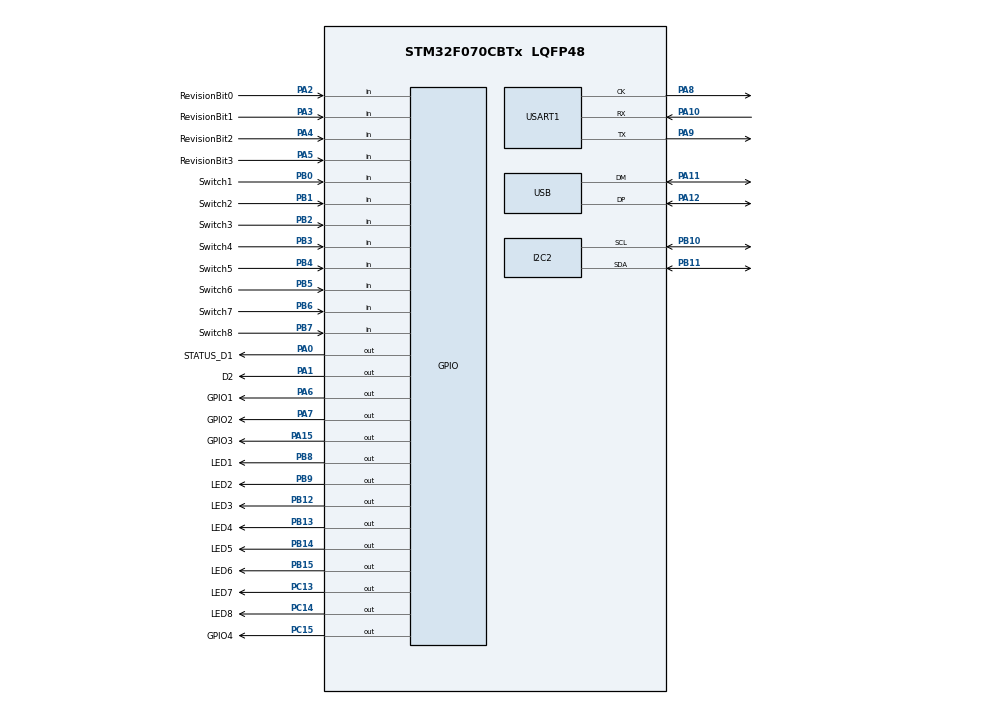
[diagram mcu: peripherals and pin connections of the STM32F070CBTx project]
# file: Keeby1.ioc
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I2C2.Timing=0x20303E5D
Mcu.Family=STM32F0
Mcu.Name=STM32F070CBTx
Mcu.Package=LQFP48
NVIC.USB_IRQn=true\:0\:0\:false\:false\:true\:false
PA0.GPIO_Label=STATUS_D1
PA0.GPIO_PuPd=GPIO_PULLDOWN
PA0.PinState=GPIO_PIN_SET
PA0.Signal=GPIO_Output
PA1.GPIO_Label=D2
PA1.GPIO_PuPd=GPIO_PULLDOWN
PA1.PinState=GPIO_PIN_SET
PA1.Signal=GPIO_Output
PA10.Mode=Synchronous
PA10.Signal=USART1_RX
PA11.Mode=Device
PA11.Signal=USB_DM
PA12.Mode=Device
PA12.Signal=USB_DP
PA13.Mode=Serial_Wire
PA13.Signal=SYS_SWDIO
PA14.Mode=Serial_Wire
PA14.Signal=SYS_SWCLK
PA15.GPIO_Label=GPIO3
PA15.Signal=GPIO_Output
PA2.GPIO_Label=RevisionBit0
PA2.Signal=GPIO_Input
PA3.GPIO_Label=RevisionBit1
PA3.Signal=GPIO_Input
PA4.GPIO_Label=RevisionBit2
PA4.Signal=GPIO_Input
PA5.GPIO_Label=RevisionBit3
PA5.Signal=GPIO_Input
PA6.GPIO_Label=GPIO1
PA6.Signal=GPIO_Output
PA7.GPIO_Label=GPIO2
PA7.Signal=GPIO_Output
PA8.Mode=Synchronous
PA8.Signal=USART1_CK
PA9.Mode=Synchronous
PA9.Signal=USART1_TX
PB0.GPIO_Label=Switch1
PB0.GPIO_PuPd=GPIO_PULLUP
PB0.Signal=GPIO_Input
PB1.GPIO_Label=Switch2
PB1.GPIO_PuPd=GPIO_PULLUP
PB1.Signal=GPIO_Input
PB10.Mode=I2C
PB10.Signal=I2C2_SCL
PB11.Mode=I2C
PB11.Signal=I2C2_SDA
PB12.GPIO_Label=LED3
PB12.PinState=GPIO_PIN_SET
PB12.Signal=GPIO_Output
PB13.GPIO_Label=LED4
PB13.PinState=GPIO_PIN_SET
PB13.Signal=GPIO_Output
PB14.GPIO_Label=LED5
PB14.PinState=GPIO_PIN_SET
PB14.Signal=GPIO_Output
PB15.GPIO_Label=LED6
PB15.PinState=GPIO_PIN_SET
PB15.Signal=GPIO_Output
PB2.GPIO_Label=Switch3
PB2.GPIO_PuPd=GPIO_PULLUP
PB2.Signal=GPIO_Input
PB3.GPIO_Label=Switch4
PB3.GPIO_PuPd=GPIO_PULLUP
PB3.Signal=GPIO_Input
PB4.GPIO_Label=Switch5
PB4.GPIO_PuPd=GPIO_PULLUP
PB4.Signal=GPIO_Input
PB5.GPIO_Label=Switch6
PB5.GPIO_PuPd=GPIO_PULLUP
PB5.Signal=GPIO_Input
PB6.GPIO_Label=Switch7
PB6.GPIO_PuPd=GPIO_PULLUP
PB6.Signal=GPIO_Input
PB7.GPIO_Label=Switch8
PB7.GPIO_PuPd=GPIO_PULLUP
PB7.Signal=GPIO_Input
PB8.GPIO_Label=LED1
PB8.PinState=GPIO_PIN_SET
PB8.Signal=GPIO_Output
PB9.GPIO_Label=LED2
PB9.PinState=GPIO_PIN_SET
PB9.Signal=GPIO_Output
PC13.GPIO_Label=LED7
PC13.Signal=GPIO_Output
PC14-OSC32_IN.GPIO_Label=LED8
PC14-OSC32_IN.Signal=GPIO_Output
PC15-OSC32_OUT.GPIO_Label=GPIO4
PC15-OSC32_OUT.Signal=GPIO_Output
PF0-OSC_IN.Mode=HSE-External-Oscillator
PF0-OSC_IN.Signal=RCC_OSC_IN
PF1-OSC_OUT.Mode=HSE-External-Oscillator
PF1-OSC_OUT.Signal=RCC_OSC_OUT
ProjectManager.HeapSize=0x200
ProjectManager.StackSize=0x400
ProjectManager.TargetToolchain=SW4STM32
RCC.AHBFreq_Value=48000000
RCC.APB1Freq_Value=48000000
RCC.APB1TimFreq_Value=48000000
RCC.HCLKFreq_Value=48000000
RCC.PLLMUL=RCC_PLL_MUL6
RCC.SYSCLKFreq_VALUE=48000000
RCC.SYSCLKSource=RCC_SYSCLKSOURCE_PLLCLK
USART1.VirtualMode-Synchronous=VM_SYNC
USB_DEVICE.CLASS_NAME_FS=HID
USB_DEVICE.VirtualMode=Hid
USB_DEVICE.VirtualModeFS=Hid_FS
VP_USB_DEVICE_VS_USB_DEVICE_HID_FS.Mode=HID_FS
board=custom

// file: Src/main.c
/* USER CODE BEGIN Header */
/**
 ******************************************************************************
 * @file           : main.c
 * @brief          : Main program body
 ******************************************************************************
 * This notice applies to any and all portions of this file
 * that are not between comment pairs USER CODE BEGIN and
 * USER CODE END. Other portions of this file, whether
 * inserted by the user or by software development tools
 * are owned by their respective copyright owners.
 *
 * Copyright (c) 2019 STMicroelectronics International N.V.
 * All rights reserved.
 *
 * Redistribution and use in source and binary forms, with or without
 * modification, are permitted, provided that the following conditions are met:
 *
 * 1. Redistribution of source code must retain the above copyright notice,
 *    this list of conditions and the following disclaimer.
 * 2. Redistributions in binary form must reproduce the above copyright notice,
 *    this list of conditions and the following disclaimer in the documentation
 *    and/or other materials provided with the distribution.
 * 3. Neither the name of STMicroelectronics nor the names of other
 *    contributors to this software may be used to endorse or promote products
 *    derived from this software without specific written permission.
 * 4. This software, including modifications and/or derivative works of this
 *    software, must execute solely and exclusively on microcontroller or
 *    microprocessor devices manufactured by or for STMicroelectronics.
 * 5. Redistribution and use of this software other than as permitted under
 *    this license is void and will automatically terminate your rights under
 *    this license.
 *
 * THIS SOFTWARE IS PROVIDED BY STMICROELECTRONICS AND CONTRIBUTORS "AS IS"
 * AND ANY EXPRESS, IMPLIED OR STATUTORY WARRANTIES, INCLUDING, BUT NOT
 * LIMITED TO, THE IMPLIED WARRANTIES OF MERCHANTABILITY, FITNESS FOR A
 * PARTICULAR PURPOSE AND NON-INFRINGEMENT OF THIRD PARTY INTELLECTUAL PROPERTY
 * RIGHTS ARE DISCLAIMED TO THE FULLEST EXTENT PERMITTED BY LAW. IN NO EVENT
 * SHALL STMICROELECTRONICS OR CONTRIBUTORS BE LIABLE FOR ANY DIRECT, INDIRECT,
 * INCIDENTAL, SPECIAL, EXEMPLARY, OR CONSEQUENTIAL DAMAGES (INCLUDING, BUT NOT
 * LIMITED TO, PROCUREMENT OF SUBSTITUTE GOODS OR SERVICES; LOSS OF USE, DATA,
 * OR PROFITS; OR BUSINESS INTERRUPTION) HOWEVER CAUSED AND ON ANY THEORY OF
 * LIABILITY, WHETHER IN CONTRACT, STRICT LIABILITY, OR TORT (INCLUDING
 * NEGLIGENCE OR OTHERWISE) ARISING IN ANY WAY OUT OF THE USE OF THIS SOFTWARE,
 * EVEN IF ADVISED OF THE POSSIBILITY OF SUCH DAMAGE.
 *
 ******************************************************************************
 */
/* USER CODE END Header */

#include "main.h"
#include "usb_device.h"
#include "usbd_hid.h"

I2C_HandleTypeDef hi2c2;

USART_HandleTypeDef husart1;
//USBD_HandleTypeDef hUsbDeviceFS;

/* USER CODE BEGIN PV */
// Keyboard Layout
// ____ ____ ____ ____   ____ ____ ____ ____
//|    |    |    |    | |    |    |    |    |
//|  1 |  2 | 3  |  4 | |  5 |  6 |  7 | 8  |
// ---- ---- ---- ----   ---- ---- ---- ----

//-- Delete following section
#define keyBind1 0x1E
#define keyBind2 0x1F
#define keyBind3 0x20
#define keyBind4 0x21

#define keyBind5 34
#define keyBind6 35
#define keyBind7 36
#define keyBind8 37

//int keyBindArry[8]={0x1E, 0x1F, 0x20, 0x21, 34, 35, 36, 37};
//--end

#define HID_DELAY 10

/* USER CODE END PV */

void SystemClock_Config(void);
static void MX_GPIO_Init(void);
static void MX_USART1_Init(void);
static void MX_I2C2_Init(void);
//int * Button_Read();
//int sumButton_Read();

int main(void) {
	/* USER CODE BEGIN 1 */

	//Alt keycodes here
	//
	//The arrays USB HID Keycodes for numpad keys
	//Alt codes send 4 in a row for any special character
	//MinAUm is meant to encode an 'a' with umlaut
	//the alt code that encodes that is {0,2,2,8} with numpad characters
	//the HID table lists keypad codes on page 55
	//https://www.usb.org/sites/default/files/documents/hut1_12v2.pdf
	//keypad 0: 98, keypad 2: 90, keypad 8, 96
	static int MinAUm[4] = { 98, 90, 90, 96 }; //
	static int MinOUm[4] = { 98, 90, 92, 94 };
	static int MinUUm[4] = { 98, 90, 93, 90 };
	static int SharfS[4] = { 98, 90, 90, 91 };

	static int MajAUm[4] = { 98, 89, 97, 94 };
	static int MajOUm[4] = { 98, 90, 89, 92 };
	static int MajUUm[4] = { 98, 90, 90, 98 };
	static int EuroSg[4] = { 98, 89, 90, 96 };

	//WTF is this magic number array
	//This seems to be a faild attempt to write the characters as tho they were
	//normal keys

	/* USER CODE END 1 */

	/* MCU Configuration--------------------------------------------------------*/

	/* Reset of all peripherals, Initializes the Flash interface and the Systick. */
	HAL_Init();

	/* USER CODE BEGIN Init */
	//HID Mouse

	/* USER CODE END Init */

	/* Configure the system clock */
	SystemClock_Config();

	/* Initialize all configured peripherals */
	MX_GPIO_Init();
	MX_USART1_Init();
	MX_I2C2_Init();
	MX_USB_DEVICE_Init();
	/* USER CODE BEGIN 2 */
	//HAL_GPIO_WritePin(GPIOA, STATUS_D1_Pin, GPIO_PIN_RESET);
	extern USBD_HandleTypeDef hUsbDeviceFS;

	volatile int keyBufferCur[8] = { 0, 0, 0, 0, 0, 0, 0, 0 }; //Creating a buffer and previous iter buffer for press and release
			 int keyBufferPrev[8] = { 0, 0, 0, 0, 0, 0, 0, 0 }; //size is due to number of keys

	void AltCodeSend(int KP[4]) {
		uint8_t hidWriteBuffer[8] = { 1, 4, 0, 0, 0, 0, 0, 0 }; // This is the key write buffer
		uint8_t hidRelBuffer[8] = { 1, 0, 0, 0, 0, 0, 0, 0 };// This is the key release buffer
		uint8_t hidAltBuffer[8] = { 1, 4, 0, 0, 0, 0, 0, 0 };// This is a buffer to send just alt

		// To send an alt code, four keypad hid codes with alt modifier are
		// sent, interleaved with 4 HID writes with just the alt modifier
		for (int j = 0; j < 4; j++) {
			// Fill, and Send the key press buffer, then wait
			hidWriteBuffer[3] = KP[j];
			USBD_HID_SendReport(&hUsbDeviceFS, hidWriteBuffer, 8);
			HAL_Delay(HID_DELAY);

			USBD_HID_SendReport(&hUsbDeviceFS, hidAltBuffer, 8);
			HAL_Delay(HID_DELAY);
		}
		USBD_HID_SendReport(&hUsbDeviceFS, hidRelBuffer, 8);
		// Send Release
	}

	HAL_GPIO_WritePin(GPIOA, STATUS_D1_Pin, GPIO_PIN_RESET);
	HAL_GPIO_WritePin(GPIOA, D2_Pin, GPIO_PIN_RESET);
	/* USER CODE END 2 */

	/* Infinite loop */
	while (1) {
//	  HAL_GPIO_WritePin(GPIOA, D2_Pin, GPIO_PIN_SET);
//	  HAL_GPIO_TogglePin(GPIOA, STATUS_D1_Pin);
		int Key_Val2[8] = { (HAL_GPIO_ReadPin(Switch1_GPIO_Port, Switch1_Pin)),
				(HAL_GPIO_ReadPin(Switch2_GPIO_Port, Switch2_Pin)),
				(HAL_GPIO_ReadPin(Switch3_GPIO_Port, Switch3_Pin)),
				(HAL_GPIO_ReadPin(Switch4_GPIO_Port, Switch4_Pin)),
				(HAL_GPIO_ReadPin(Switch5_GPIO_Port, Switch5_Pin)),
				(HAL_GPIO_ReadPin(Switch6_GPIO_Port, Switch6_Pin)),
				(HAL_GPIO_ReadPin(Switch7_GPIO_Port, Switch7_Pin)),
				(HAL_GPIO_ReadPin(Switch8_GPIO_Port, Switch8_Pin)) };

		static int PrevPresSum = 0;
		static int CurrPresSum = 0;
		for (int j = 0; j < 8; j++) {
			CurrPresSum += keyBufferCur[j] = (1 ^ Key_Val2[j]); //HAL reads active low, like a maniac. This is my method for flipping the bit from HAL, packing a buffer and summing it. Yuck.
			PrevPresSum += (keyBufferCur[j] != keyBufferPrev[j]); //This checks for a press to release transition between loops
		}

		//Event Press or release, or more accurately, a state change
		if (CurrPresSum != 0 || PrevPresSum != 0) {

			//Checks the current and previous buffer, if there's a new press
			//send an alt code
			if (keyBufferCur[0] == 1 && keyBufferPrev[0] == 0) {
				AltCodeSend(MinAUm);
			}
			if (keyBufferCur[1] == 1 && keyBufferPrev[1] == 0) {
				AltCodeSend(MinOUm);
			}
			if (keyBufferCur[2] == 1 && keyBufferPrev[2] == 0) {
				AltCodeSend(MinUUm);
			}
			if (keyBufferCur[3] == 1 && keyBufferPrev[3] == 0) {
				AltCodeSend(SharfS);
			}
			if (keyBufferCur[4] == 1 && keyBufferPrev[4] == 0) {
				AltCodeSend(MajAUm);
			}
			if (keyBufferCur[5] == 1 && keyBufferPrev[5] == 0) {
				AltCodeSend(MajOUm);
			}
			if (keyBufferCur[6] == 1 && keyBufferPrev[6] == 0) {
				AltCodeSend(MajUUm);
			}
			if (keyBufferCur[7] == 1 && keyBufferPrev[7] == 0) {
				AltCodeSend(EuroSg);
			}

			//Clean up
			//Set 'Prev' array to Current
			PrevPresSum = CurrPresSum;
			CurrPresSum = 0;
			for (int v = 0; v < 8; v++) {
				(keyBufferPrev[v] = keyBufferCur[v]);
			}

			HAL_Delay(20);

		}
	}
}

	/**
	 * @brief System Clock Configuration
	 * @retval None
	 */
	void SystemClock_Config(void) {
		RCC_OscInitTypeDef RCC_OscInitStruct = { 0 };
		RCC_ClkInitTypeDef RCC_ClkInitStruct = { 0 };
		RCC_PeriphCLKInitTypeDef PeriphClkInit = { 0 };

		/**Initializes the CPU, AHB and APB busses clocks
		 */
		RCC_OscInitStruct.OscillatorType = RCC_OSCILLATORTYPE_HSE;
		RCC_OscInitStruct.HSEState = RCC_HSE_ON;
		RCC_OscInitStruct.PLL.PLLState = RCC_PLL_ON;
		RCC_OscInitStruct.PLL.PLLSource = RCC_PLLSOURCE_HSE;
		RCC_OscInitStruct.PLL.PLLMUL = RCC_PLL_MUL6;
		RCC_OscInitStruct.PLL.PREDIV = RCC_PREDIV_DIV1;
		if (HAL_RCC_OscConfig(&RCC_OscInitStruct) != HAL_OK) {
			Error_Handler();
		}
		/**Initializes the CPU, AHB and APB busses clocks
		 */
		RCC_ClkInitStruct.ClockType = RCC_CLOCKTYPE_HCLK | RCC_CLOCKTYPE_SYSCLK
				| RCC_CLOCKTYPE_PCLK1;
		RCC_ClkInitStruct.SYSCLKSource = RCC_SYSCLKSOURCE_PLLCLK;
		RCC_ClkInitStruct.AHBCLKDivider = RCC_SYSCLK_DIV1;
		RCC_ClkInitStruct.APB1CLKDivider = RCC_HCLK_DIV1;

		if (HAL_RCC_ClockConfig(&RCC_ClkInitStruct, FLASH_LATENCY_1)
				!= HAL_OK) {
			Error_Handler();
		}
		PeriphClkInit.PeriphClockSelection = RCC_PERIPHCLK_USB
				| RCC_PERIPHCLK_USART1;
		PeriphClkInit.Usart1ClockSelection = RCC_USART1CLKSOURCE_PCLK1;
		PeriphClkInit.UsbClockSelection = RCC_USBCLKSOURCE_PLL;

		if (HAL_RCCEx_PeriphCLKConfig(&PeriphClkInit) != HAL_OK) {
			Error_Handler();
		}
	}

	/**
	 * @brief I2C2 Initialization Function
	 * @param None
	 * @retval None
	 */
	static void MX_I2C2_Init(void) {

		hi2c2.Instance = I2C2;
		hi2c2.Init.Timing = 0x20303E5D;
		hi2c2.Init.OwnAddress1 = 0;
		hi2c2.Init.AddressingMode = I2C_ADDRESSINGMODE_7BIT;
		hi2c2.Init.DualAddressMode = I2C_DUALADDRESS_DISABLE;
		hi2c2.Init.OwnAddress2 = 0;
		hi2c2.Init.OwnAddress2Masks = I2C_OA2_NOMASK;
		hi2c2.Init.GeneralCallMode = I2C_GENERALCALL_DISABLE;
		hi2c2.Init.NoStretchMode = I2C_NOSTRETCH_DISABLE;
		if (HAL_I2C_Init(&hi2c2) != HAL_OK) {
			Error_Handler();
		}
		/**Configure Analogue filter
		 */
		if (HAL_I2CEx_ConfigAnalogFilter(&hi2c2, I2C_ANALOGFILTER_ENABLE)
				!= HAL_OK) {
			Error_Handler();
		}
		/**Configure Digital filter
		 */
		if (HAL_I2CEx_ConfigDigitalFilter(&hi2c2, 0) != HAL_OK) {
			Error_Handler();
		}

	}

	/**
	 * @brief USART1 Initialization Function
	 * @param None
	 * @retval None
	 */
	static void MX_USART1_Init(void) {

		husart1.Instance = USART1;
		husart1.Init.BaudRate = 38400;
		husart1.Init.WordLength = USART_WORDLENGTH_8B;
		husart1.Init.StopBits = USART_STOPBITS_1;
		husart1.Init.Parity = USART_PARITY_NONE;
		husart1.Init.Mode = USART_MODE_TX_RX;
		husart1.Init.CLKPolarity = USART_POLARITY_LOW;
		husart1.Init.CLKPhase = USART_PHASE_1EDGE;
		husart1.Init.CLKLastBit = USART_LASTBIT_DISABLE;
		if (HAL_USART_Init(&husart1) != HAL_OK) {
			Error_Handler();
		}

	}

	/**
	 * @brief GPIO Initialization Function
	 * @param None
	 * @retval None
	 */
	static void MX_GPIO_Init(void) {
		GPIO_InitTypeDef GPIO_InitStruct = { 0 };

		/* GPIO Ports Clock Enable */
		__HAL_RCC_GPIOC_CLK_ENABLE();
		__HAL_RCC_GPIOF_CLK_ENABLE();
		__HAL_RCC_GPIOA_CLK_ENABLE();
		__HAL_RCC_GPIOB_CLK_ENABLE();

		/*Configure GPIO pin Output Level */
		HAL_GPIO_WritePin(GPIOC, LED7_Pin | LED8_Pin | GPIO4_Pin,
				GPIO_PIN_RESET);

		/*Configure GPIO pin Output Level */
		HAL_GPIO_WritePin(GPIOA, STATUS_D1_Pin | D2_Pin, GPIO_PIN_SET);

		/*Configure GPIO pin Output Level */
		HAL_GPIO_WritePin(GPIOA, GPIO1_Pin | GPIO2_Pin | GPIO3_Pin,
				GPIO_PIN_RESET);

		/*Configure GPIO pin Output Level */
		HAL_GPIO_WritePin(GPIOB,
				LED3_Pin | LED4_Pin | LED5_Pin | LED6_Pin | LED1_Pin | LED2_Pin,
				GPIO_PIN_SET);

		/*Configure GPIO pins : LED7_Pin LED8_Pin GPIO4_Pin */
		GPIO_InitStruct.Pin = LED7_Pin | LED8_Pin | GPIO4_Pin;
		GPIO_InitStruct.Mode = GPIO_MODE_OUTPUT_PP;
		GPIO_InitStruct.Pull = GPIO_NOPULL;
		GPIO_InitStruct.Speed = GPIO_SPEED_FREQ_LOW;
		HAL_GPIO_Init(GPIOC, &GPIO_InitStruct);

		/*Configure GPIO pins : STATUS_D1_Pin D2_Pin */
		GPIO_InitStruct.Pin = STATUS_D1_Pin | D2_Pin;
		GPIO_InitStruct.Mode = GPIO_MODE_OUTPUT_PP;
		GPIO_InitStruct.Pull = GPIO_PULLDOWN;
		GPIO_InitStruct.Speed = GPIO_SPEED_FREQ_LOW;
		HAL_GPIO_Init(GPIOA, &GPIO_InitStruct);

		/*Configure GPIO pins : RevisionBit0_Pin RevisionBit1_Pin RevisionBit2_Pin RevisionBit3_Pin */
		GPIO_InitStruct.Pin = RevisionBit0_Pin | RevisionBit1_Pin
				| RevisionBit2_Pin | RevisionBit3_Pin;
		GPIO_InitStruct.Mode = GPIO_MODE_INPUT;
		GPIO_InitStruct.Pull = GPIO_NOPULL;
		HAL_GPIO_Init(GPIOA, &GPIO_InitStruct);

		/*Configure GPIO pins : GPIO1_Pin GPIO2_Pin GPIO3_Pin */
		GPIO_InitStruct.Pin = GPIO1_Pin | GPIO2_Pin | GPIO3_Pin;
		GPIO_InitStruct.Mode = GPIO_MODE_OUTPUT_PP;
		GPIO_InitStruct.Pull = GPIO_NOPULL;
		GPIO_InitStruct.Speed = GPIO_SPEED_FREQ_LOW;
		HAL_GPIO_Init(GPIOA, &GPIO_InitStruct);

		/*Configure GPIO pins : Switch1_Pin Switch2_Pin Switch3_Pin Switch4_Pin
		 Switch5_Pin Switch6_Pin Switch7_Pin Switch8_Pin */
		GPIO_InitStruct.Pin = Switch1_Pin | Switch2_Pin | Switch3_Pin
				| Switch4_Pin | Switch5_Pin | Switch6_Pin | Switch7_Pin
				| Switch8_Pin;
		GPIO_InitStruct.Mode = GPIO_MODE_INPUT;
		GPIO_InitStruct.Pull = GPIO_PULLUP;
		HAL_GPIO_Init(GPIOB, &GPIO_InitStruct);

		/*Configure GPIO pins : LED3_Pin LED4_Pin LED5_Pin LED6_Pin
		 LED1_Pin LED2_Pin */
		GPIO_InitStruct.Pin = LED3_Pin | LED4_Pin | LED5_Pin | LED6_Pin
				| LED1_Pin | LED2_Pin;
		GPIO_InitStruct.Mode = GPIO_MODE_OUTPUT_PP;
		GPIO_InitStruct.Pull = GPIO_NOPULL;
		GPIO_InitStruct.Speed = GPIO_SPEED_FREQ_LOW;
		HAL_GPIO_Init(GPIOB, &GPIO_InitStruct);

	}

	/**
	 * @brief  This function is executed in case of error occurrence.
	 * @retval None
	 */
	void Error_Handler(void) {
	}

	/************************ (C) COPYRIGHT STMicroelectronics *****END OF FILE****/
